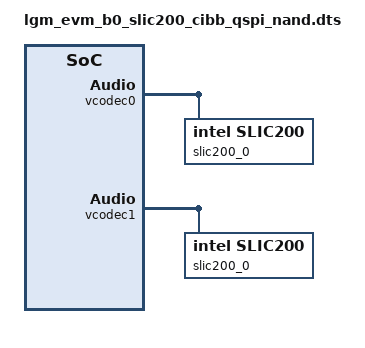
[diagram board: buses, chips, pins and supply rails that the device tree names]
#include "lgm_evm_b0_qspi_nand.dts"

/* Set type of DC/DC converter to CIBB12 */
&vcodec0 {
	slic200_0 {
		compatible = "intel,slic200";
		dcdc_type = "CIBB";
	};
};

&vcodec1 {
	slic200_0 {
		compatible = "intel,slic200";
		dcdc_type = "CIBB";
	};
};
